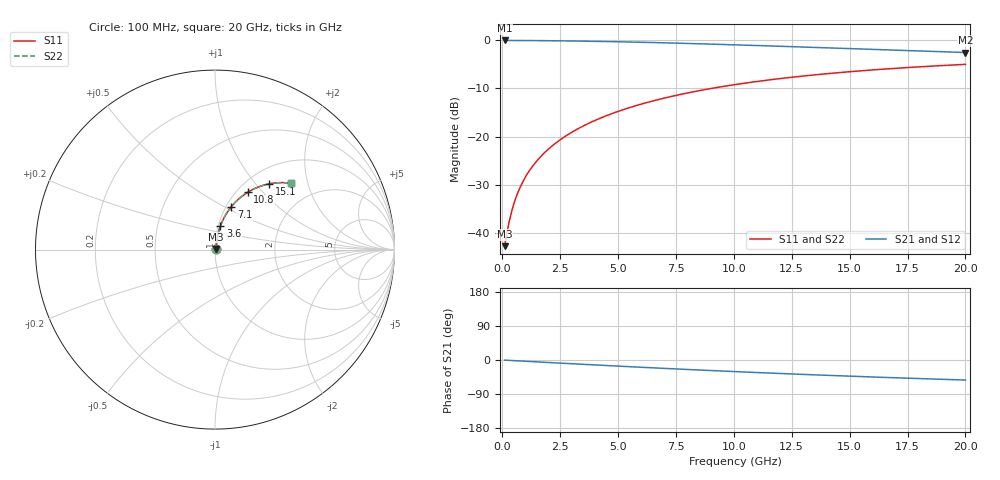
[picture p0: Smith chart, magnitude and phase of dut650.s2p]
! Touchstone file exported from HFSS 2024.1.0
!  File:  C:/UserFiles/LocalFiles/RDL_TSV_Batchsim/temp_RDL_top_650_1779781294.aedt
!  Generated:  03:44:14 PM May 26, 2026
!  Design:  RDL_top
!  Project:  temp_RDL_top_650_1779781294
!  Setup:  Setup1
!  Solution:  Sweep
! Variables:
!  dtsv = 10.80580581um
!  hbump = 3um
!  htsv = 54.76um
!  ldown = 100um
!  lrdl = 693.04um
!  p = 40
!  p1 = 55.72um
!  rhole = 1um
!  t = 450um
!  tdown = 3.915915916um
!  trdl = 3.03um
!  wdown = 15.38538539um
!  wrdl = 13.01um
# GHz S MA R 50.000000
! Terminal data exported
! Port[1] = Box2_T1
! Port[2] = Box2_T2
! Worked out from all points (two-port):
!   200 points, 100 MHz to 20 GHz, reference 50 ohm
!   highest |S21| = -0.05 dB at 100 MHz (marker M1); lowest = -2.6 dB at 20 GHz (marker M2)
!   |S21| within 3 dB of the highest: start of sweep to end of sweep
!   lowest |S11| = -42.6 dB at 100 MHz (marker M3), VSWR 1.01, Z = 50.6 + j0.391 ohm
!   |S11| at or under -10 dB: start of sweep to 9.019 GHz
!   |S22| runs from -42.6 to -5.0 dB; largest |S21 - S12| = 1.1e-14
!   S11 on the Smith chart (normalised r, x): 100 MHz: 1.01, +0.01; 3.6 GHz: 1.02, +0.27; 7.1 GHz: 1.06, +0.54; 10.8 GHz: 1.12, +0.83; 15.1 GHz: 1.25, +1.18; 20 GHz: 1.46, +1.58
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0.1  0.007373 31.6  0.9937 -0.3  0.9937 -0.3  0.007373 31.6
! Gamma 0 0 0 0
! Port Impedance 50 0 50 0
0.3  0.01326 60.2  0.9934 -1.0  0.9934 -1.0  0.01326 60.2
0.4  0.01673 65.9  0.9932 -1.4  0.9932 -1.4  0.01673 65.9
0.5  0.02028 69.5  0.993 -1.7  0.993 -1.7  0.02028 69.5
0.6  0.02387 71.9  0.9928 -2.0  0.9928 -2.0  0.02387 71.9
0.8  0.03109 75.0  0.9922 -2.7  0.9922 -2.7  0.03109 75.0
1.1  0.04199 77.3  0.9914 -3.7  0.9914 -3.7  0.04199 77.3
1.5  0.05658 78.6  0.9899 -5.0  0.9899 -5.0  0.05658 78.6
2.1  0.07853 79.0  0.9872 -6.9  0.9872 -6.9  0.07853 79.0
2.7  0.1005 78.6  0.9837 -8.9  0.9837 -8.9  0.1005 78.6
3.5  0.1295 77.3  0.9778 -11.5  0.9778 -11.5  0.1295 77.3
3.6  0.1332 77.2  0.977 -11.8  0.977 -11.8  0.1332 77.1
5  0.1832 74.2  0.9636 -16.2  0.9636 -16.2  0.1832 74.2
6.8  0.2451 70.0  0.942 -21.6  0.942 -21.6  0.2451 70.0
7.1  0.2551 69.2  0.9381 -22.5  0.9381 -22.5  0.2551 69.2
8.5  0.3002 65.8  0.9185 -26.4  0.9185 -26.4  0.3001 65.8
10.1  0.3484 61.9  0.8947 -30.8  0.8947 -30.8  0.3483 61.9
10.8  0.3682 60.2  0.8839 -32.6  0.8839 -32.6  0.3682 60.2
13.4  0.4355 54.3  0.8433 -39.0  0.8433 -39.0  0.4354 54.3
15.1  0.4738 50.6  0.8169 -42.9  0.8169 -42.9  0.4737 50.6
16.7  0.5061 47.3  0.7926 -46.4  0.7926 -46.4  0.506 47.3
20  0.5621 41.1  0.7455 -52.9  0.7455 -52.9  0.562 41.1
